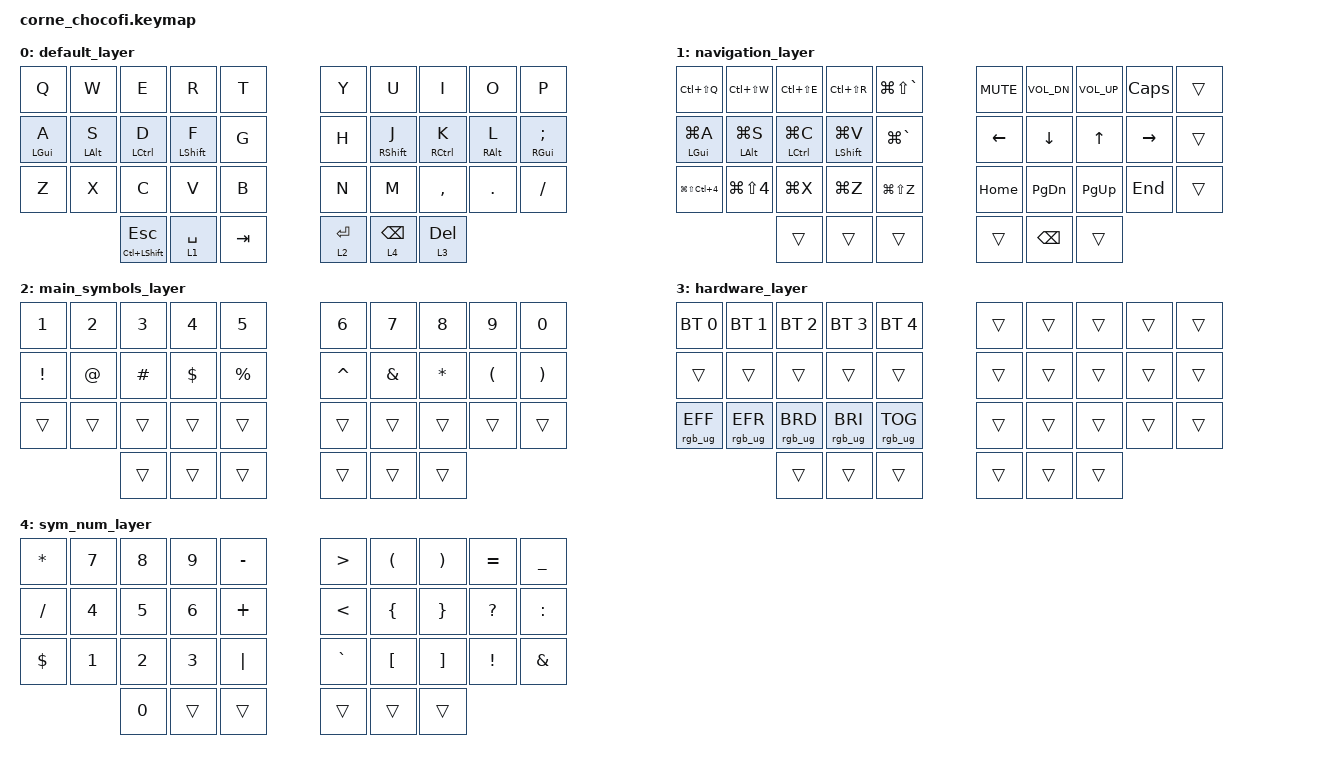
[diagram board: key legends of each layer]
/*
 * Copyright (c) 2020 The ZMK Contributors
 *
 * SPDX-License-Identifier: MIT
 */

#include <behaviors.dtsi>
#include <dt-bindings/zmk/bt.h>
#include <dt-bindings/zmk/keys.h>

#define DEFAULT 0
#define NAVIGATION 1
#define MAIN_SYMBOLS 2
#define HARDWARE 3
#define SYMNUM 4

/ {
    chosen { zmk,matrix_transform = &five_column_transform; };

    behaviors {
        hm: homerow_mods {
            flavor = "balanced";
            tapping-term-ms = <280>;
            quick-tap-ms = <175>;                // repeat on tap-into-hold
            require-prior-idle-ms = <150>;
            compatible = "zmk,behavior-hold-tap";
            #binding-cells = <2>;
            bindings = <&kp>, <&kp>;
        };
    };

    keymap {
        compatible = "zmk,keymap";

        default_layer {
            bindings = <
  &kp Q       &kp W           &kp E                 &kp R             &kp T      &kp Y        &kp U              &kp I         &kp O            &kp P
  &hm LGUI A  &hm LEFT_ALT S  &hm LCTRL D           &hm LEFT_SHIFT F  &kp G      &kp H        &hm RIGHT_SHIFT J  &hm RCTRL K   &hm RIGHT_ALT L  &hm RGUI SEMI
  &kp Z       &kp X           &kp C                 &kp V             &kp B      &kp N        &kp M              &kp COMMA     &kp DOT          &kp FSLH
                              &mt LC(LSHFT) ESCAPE  &lt 1 SPACE       &kp TAB    &lt 2 ENTER  &lt 4 BACKSPACE    &lt 3 DELETE
            >;
        };

        navigation_layer {
            bindings = <
  &kp LC(LS(Q))       &kp LC(LS(W))       &kp LC(LS(E))    &kp LC(LS(R))     &kp LG(LS(GRAVE))    &kp C_MUTE  &kp C_VOL_DN   &kp C_VOL_UP  &kp CAPS   &trans
  &mt LGUI LG(A)      &mt LEFT_ALT LG(S)  &mt LCTRL LG(C)  &mt LSHIFT LG(V)  &kp LG(GRAVE)        &kp LEFT    &kp DOWN       &kp UP        &kp RIGHT  &trans
  &kp LG(LS(LC(N4)))  &kp LG(LS(N4))      &kp LG(X)        &kp LG(Z)         &kp LG(LS(Z))        &kp HOME    &kp PAGE_DOWN  &kp PG_UP     &kp END    &trans
                                          &trans           &trans            &trans               &trans      &kp BACKSPACE  &trans
            >;
        };

        main_symbols_layer {
            bindings = <
  &kp NUMBER_1  &kp NUMBER_2  &kp NUMBER_3  &kp N4      &kp N5         &kp N6     &kp N7    &kp N8    &kp N9                &kp N0
  &kp EXCL      &kp AT        &kp HASH      &kp DOLLAR  &kp PERCENT    &kp CARET  &kp AMPS  &kp STAR  &kp LEFT_PARENTHESIS  &kp RIGHT_PARENTHESIS
  &trans        &trans        &trans        &trans      &trans         &trans     &trans    &trans    &trans                &trans
                              &trans        &trans      &trans         &trans     &trans    &trans
            >;
        };

        hardware_layer {
            bindings = <
  &bt BT_SEL 0     &bt BT_SEL 1     &bt BT_SEL 2     &bt BT_SEL 3     &bt BT_SEL 4       &trans  &trans  &trans  &trans  &trans
  &trans           &trans           &trans           &trans           &trans             &trans  &trans  &trans  &trans  &trans
  &rgb_ug RGB_EFF  &rgb_ug RGB_EFR  &rgb_ug RGB_BRD  &rgb_ug RGB_BRI  &rgb_ug RGB_TOG    &trans  &trans  &trans  &trans  &trans
                                    &trans           &trans           &trans             &trans  &trans  &trans
            >;
        };

        sym_num_layer {
            bindings = <
  &kp STAR    &kp N7  &kp N8  &kp N9  &kp MINUS    &kp GREATER_THAN  &kp LEFT_PARENTHESIS  &kp RIGHT_PARENTHESIS  &kp EQUAL     &kp UNDERSCORE
  &kp SLASH   &kp N4  &kp N5  &kp N6  &kp PLUS     &kp LESS_THAN     &kp LBRC              &kp RBRC               &kp QUESTION  &kp COLON
  &kp DOLLAR  &kp N1  &kp N2  &kp N3  &kp PIPE     &kp GRAVE         &kp LBKT              &kp RBKT               &kp EXCL      &kp AMPS
                      &kp N0  &trans  &trans       &trans            &trans                &trans
            >;
        };
    };
};
